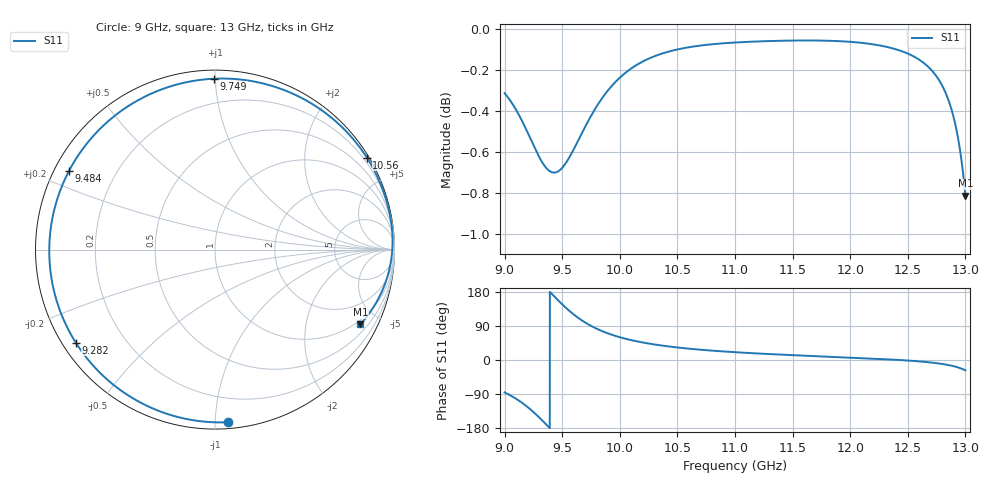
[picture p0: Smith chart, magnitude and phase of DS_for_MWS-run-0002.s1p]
! TOUCHSTONE file generated by CST DESIGN STUDIO
! Date and time: Tue Feb  4 12:57:19 2025
! Project name: C:\Work\MatlabApps\UnitCellOptimizationMatlab\CST\unitcell.cst
! Tree item: Tasks\Sweep1\SPara1\S-Parameters
! Header version: 2024
! Port assignment regex: !\s*Touchstone port\s*([0-9]+)\s*=\s*(CST MWS port|CST DES external port|CST DES block port)\s*(.+)\s* \(\"(.*)\"\)(\s*mode\s*([0-9]+))?.*
! Touchstone port assignment:
! Touchstone port 1 = CST DES external port 1 ("")
# GHz S MA R 50
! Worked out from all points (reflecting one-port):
!   4001 points, 9 GHz to 13 GHz, reference 50 ohm
!   lowest |S11| = -0.8 dB at 13 GHz (marker M1), VSWR 21.41, Z = 40.6 - j199 ohm
!   phase of S11 starts at -86 deg and turns -302 deg over the sweep
!   S11 on the Smith chart (normalised r, x): 9 GHz: 0.04, -1.08; 9.282 GHz: 0.04, -0.30; 9.484 GHz: 0.04, +0.25; 9.749 GHz: 0.05, +0.99; 10.56 GHz: 0.07, +3.57; 13 GHz: 0.81, -3.97
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9  0.9646 -85.6
9.084  0.9572 -99.4
9.154  0.9494 -113.5
9.219  0.941 -129.0
9.282  0.9329 -146.2
9.335  0.9271 -162.1
9.384  0.9237 -177.4
9.433  0.9226 167.2
9.484  0.9241 151.6
9.5  0.9251 146.9
9.558  0.9301 130.7
9.616  0.9366 116.4
9.678  0.9441 103.1
9.749  0.9522 90.3
9.869  0.9638 73.4
10  0.973 60.1
10.101  0.9781 52.3
10.216  0.9823 45.3
10.5  0.9885 33.1
10.556  0.9892 31.2
11  0.9923 20.6
11.5  0.9934 12.8
12  0.9927 6.4
12.5  0.9862 -1.4
12.668  0.9795 -5.5
12.799  0.9686 -10.5
12.911  0.9483 -17.4
13  0.9107 -27.2
